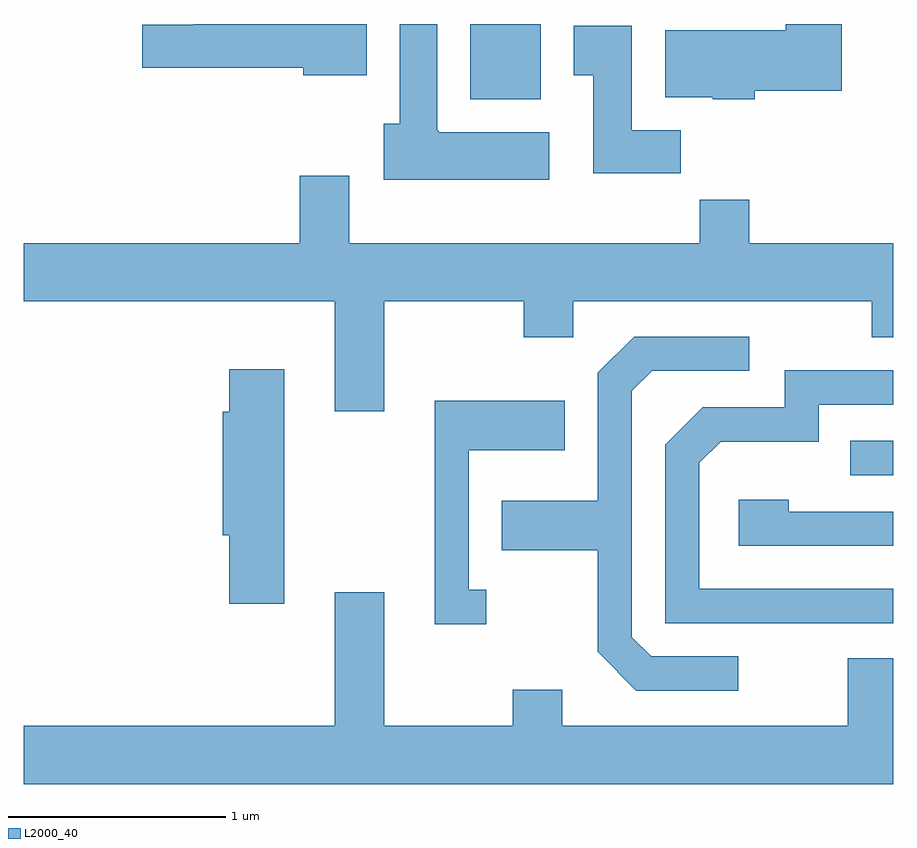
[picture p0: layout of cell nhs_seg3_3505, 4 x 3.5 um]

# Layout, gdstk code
import gdstk
lib = gdstk.Library(unit=1e-6, precision=1e-09)
def R(c, l, rs):  # rectangles x0, y0, x1, y1
    for r in rs: c.add(gdstk.rectangle(r[:2], r[2:], *l))
def P(c, l, *ps):  # polygons
    for p in ps: c.add(gdstk.Polygon(p, *l))
L2000_40 = (2000, 40)

nhs_seg3_3505 = lib.new_cell('nhs_seg3_3505')
R(nhs_seg3_3505, L2000_40, [(291.413,1191.816,291.611,1191.974), (289.666,1193.546,289.989,1193.892)])
P(nhs_seg3_3505, L2000_40, [(289.189,1193.892),(288.391,1193.892),(288.391,1193.889),(288.156,1193.889),(288.156,1193.691),(288.896,1193.691),(288.896,1193.656),(289.189,1193.656)],
  [(290.029,1193.394),(289.52,1193.394),(289.52,1193.4),(289.514,1193.4),(289.514,1193.892),(289.341,1193.892),(289.341,1193.434),(289.266,1193.434),(289.266,1193.176),(290.029,1193.176)],
  [(290.974,1193.586),(291.374,1193.586),(291.374,1193.892),(291.116,1193.892),(291.116,1193.864),(290.561,1193.864),(290.561,1193.556),(290.78,1193.556),(290.78,1193.546),(290.974,1193.546)],
  [(290.634,1193.404),(290.409,1193.404),(290.409,1193.884),(290.141,1193.884),(290.141,1193.656),(290.231,1193.656),(290.231,1193.206),(290.634,1193.206)],
  [(289.109,1193.194),(288.881,1193.194),(288.881,1192.884),(287.611,1192.884),(287.611,1192.616),(289.041,1192.616),(289.041,1192.111),(289.269,1192.111),(289.269,1192.616),(289.911,1192.616),(289.911,1192.451),(290.139,1192.451),(290.139,1192.616),(291.511,1192.616),(291.511,1192.451),(291.611,1192.451),(291.611,1192.884),(290.949,1192.884),(290.949,1193.084),(290.721,1193.084),(290.721,1192.884),(289.109,1192.884)],
  [(290.898,1190.984),(290.497,1190.984),(290.409,1191.072),(290.409,1192.204),(290.502,1192.296),(290.948,1192.296),(290.948,1192.454),(290.419,1192.454),(290.251,1192.287),(290.251,1191.699),(289.811,1191.699),(289.811,1191.471),(290.251,1191.471),(290.251,1191.004),(290.429,1190.826),(290.898,1190.826)],
  [(288.809,1192.304),(288.556,1192.304),(288.556,1192.109),(288.526,1192.109),(288.526,1191.541),(288.556,1191.541),(288.556,1191.226),(288.809,1191.226)],
  [(291.611,1191.294),(290.719,1191.294),(290.719,1191.874),(290.817,1191.971),(291.269,1191.971),(291.269,1192.141),(291.611,1192.141),(291.611,1192.299),(291.111,1192.299),(291.111,1192.129),(290.734,1192.129),(290.561,1191.957),(290.561,1191.136),(291.611,1191.136)],
  [(289.738,1191.289),(289.659,1191.289),(289.659,1191.931),(290.099,1191.931),(290.099,1192.159),(289.501,1192.159),(289.501,1191.131),(289.738,1191.131)],
  [(291.611,1191.649),(291.129,1191.649),(291.129,1191.704),(290.901,1191.704),(290.901,1191.491),(291.611,1191.491)],
  [(291.611,1190.974),(291.401,1190.974),(291.401,1190.664),(290.089,1190.664),(290.089,1190.829),(289.861,1190.829),(289.861,1190.664),(289.269,1190.664),(289.269,1191.279),(289.041,1191.279),(289.041,1190.664),(287.611,1190.664),(287.611,1190.396),(291.611,1190.396)])

lib.write_gds('nhs_seg3_3505.gds')
